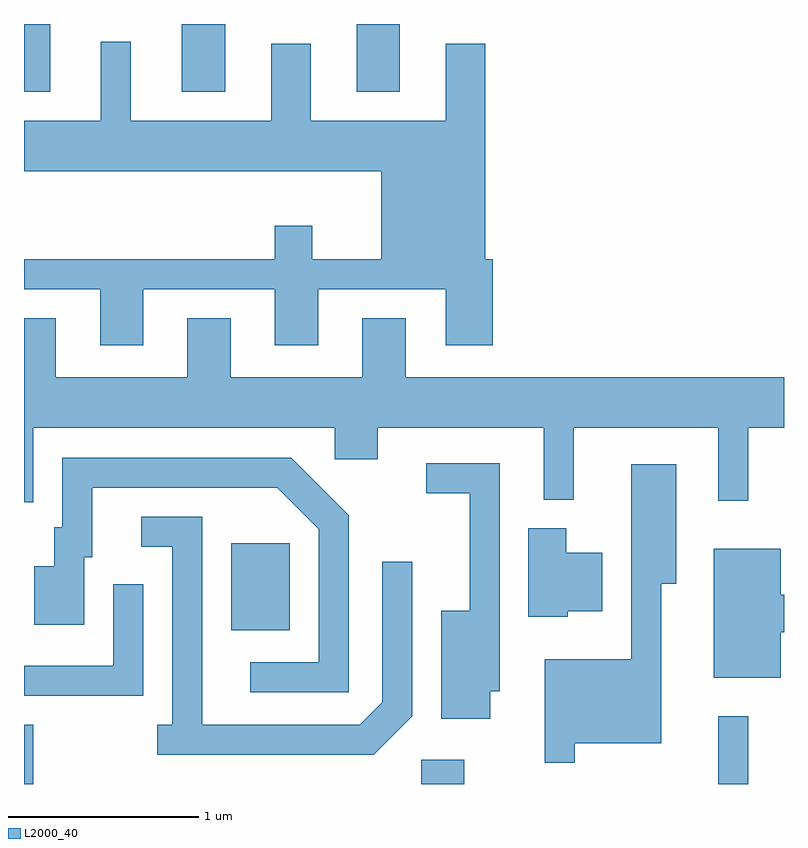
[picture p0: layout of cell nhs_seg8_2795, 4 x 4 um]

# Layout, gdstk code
import gdstk
lib = gdstk.Library(unit=1e-6, precision=1e-09)
def R(c, l, rs):  # rectangles x0, y0, x1, y1
    for r in rs: c.add(gdstk.rectangle(r[:2], r[2:], *l))
def P(c, l, *ps):  # polygons
    for p in ps: c.add(gdstk.Polygon(p, *l))
L2000_40 = (2000, 40)

nhs_seg8_2795 = lib.new_cell('nhs_seg8_2795')
R(nhs_seg8_2795, L2000_40, [(269.611,1812.342,269.659,1812.654), (271.701,1812.342,271.929,1812.469), (273.266,1812.342,273.424,1812.698), (270.701,1813.151,271.009,1813.609), (269.611,1815.986,269.749,1816.342), (270.441,1815.986,270.669,1816.342), (271.361,1815.986,271.589,1816.342)])
P(nhs_seg8_2795, L2000_40, [(270.239,1814.946),(270.931,1814.946),(270.931,1814.651),(271.159,1814.651),(271.159,1814.946),(271.831,1814.946),(271.831,1814.651),(272.079,1814.651),(272.079,1815.104),(272.039,1815.104),(272.039,1816.239),(271.831,1816.239),(271.831,1815.834),(271.119,1815.834),(271.119,1816.239),(270.911,1816.239),(270.911,1815.834),(270.174,1815.834),(270.174,1816.248),(270.016,1816.248),(270.016,1815.834),(269.611,1815.834),(269.611,1815.566),(271.491,1815.566),(271.491,1815.104),(271.129,1815.104),(271.129,1815.279),(270.931,1815.279),(270.931,1815.104),(269.611,1815.104),(269.611,1814.946),(270.011,1814.946),(270.011,1814.651),(270.239,1814.651)],
  [(269.659,1814.216),(271.246,1814.216),(271.246,1814.051),(271.474,1814.051),(271.474,1814.216),(272.346,1814.216),(272.346,1813.838),(272.504,1813.838),(272.504,1814.216),(273.266,1814.216),(273.266,1813.833),(273.424,1813.833),(273.424,1814.216),(273.611,1814.216),(273.611,1814.484),(271.619,1814.484),(271.619,1814.794),(271.391,1814.794),(271.391,1814.484),(270.699,1814.484),(270.699,1814.794),(270.471,1814.794),(270.471,1814.484),(269.779,1814.484),(269.779,1814.794),(269.611,1814.794),(269.611,1813.826),(269.659,1813.826)],
  [(271.319,1813.757),(271.017,1814.059),(269.811,1814.059),(269.811,1813.694),(269.771,1813.694),(269.771,1813.489),(269.666,1813.489),(269.666,1813.181),(269.929,1813.181),(269.929,1813.536),(269.969,1813.536),(269.969,1813.901),(270.944,1813.901),(271.161,1813.684),(271.161,1812.984),(270.803,1812.984),(270.803,1812.826),(271.319,1812.826)],
  [(272.064,1812.831),(272.114,1812.831),(272.114,1814.029),(271.728,1814.029),(271.728,1813.871),(271.956,1813.871),(271.956,1813.254),(271.806,1813.254),(271.806,1812.686),(272.064,1812.686)],
  [(272.509,1812.556),(272.964,1812.556),(272.964,1813.396),(273.044,1813.396),(273.044,1814.024),(272.806,1814.024),(272.806,1812.999),(272.351,1812.999),(272.351,1812.453),(272.509,1812.453)],
  [(271.654,1812.699),(271.654,1813.513),(271.496,1813.513),(271.496,1812.772),(271.379,1812.654),(270.549,1812.654),(270.549,1813.749),(270.228,1813.749),(270.228,1813.591),(270.391,1813.591),(270.391,1812.654),(270.313,1812.654),(270.313,1812.496),(271.452,1812.496)],
  [(272.474,1813.251),(272.654,1813.251),(272.654,1813.559),(272.464,1813.559),(272.464,1813.689),(272.266,1813.689),(272.266,1813.221),(272.474,1813.221)],
  [(273.594,1813.141),(273.611,1813.141),(273.611,1813.339),(273.594,1813.339),(273.594,1813.579),(273.241,1813.579),(273.241,1812.901),(273.594,1812.901)],
  [(270.239,1813.393),(270.081,1813.393),(270.081,1812.964),(269.611,1812.964),(269.611,1812.806),(270.239,1812.806)])

lib.write_gds('nhs_seg8_2795.gds')
